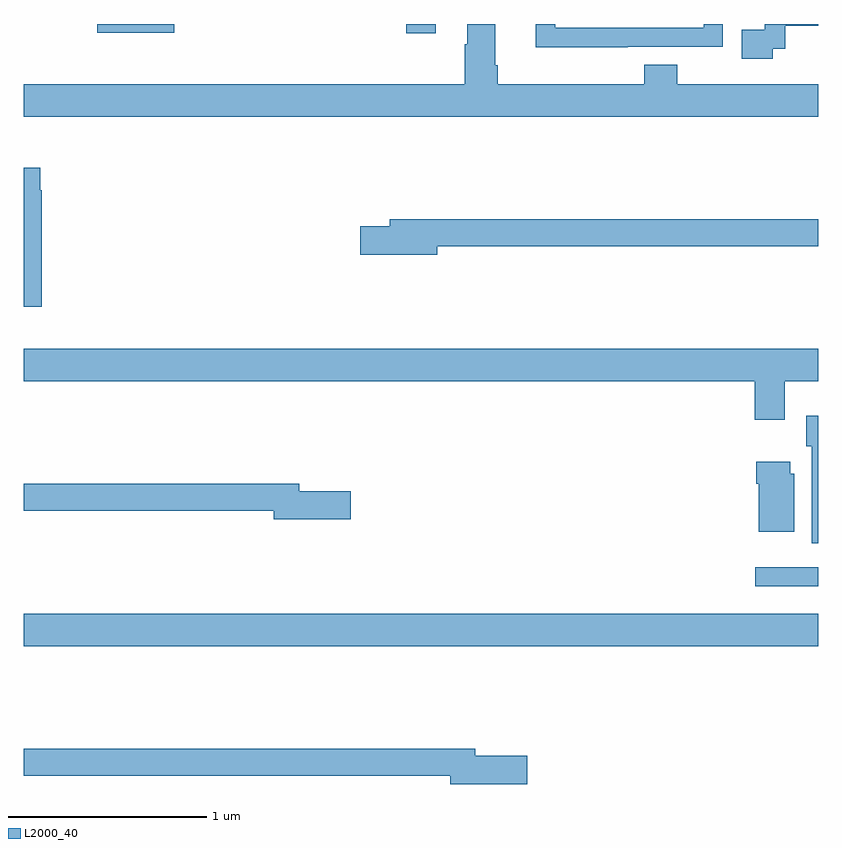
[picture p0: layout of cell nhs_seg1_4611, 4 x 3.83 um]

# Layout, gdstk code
import gdstk
lib = gdstk.Library(unit=1e-6, precision=1e-09)
def R(c, l, rs):  # rectangles x0, y0, x1, y1
    for r in rs: c.add(gdstk.rectangle(r[:2], r[2:], *l))
def P(c, l, *ps):  # polygons
    for p in ps: c.add(gdstk.Polygon(p, *l))
L2000_40 = (2000, 40)

nhs_seg1_4611 = lib.new_cell('nhs_seg1_4611')
R(nhs_seg1_4611, L2000_40, [(361,549.068,365,549.232), (364.683,549.368,365,549.465), (362.925,552.153,363.073,552.199)])
P(nhs_seg1_4611, L2000_40, [(365,551.896),(364.289,551.896),(364.289,551.995),(364.124,551.995),(364.124,551.896),(363.386,551.896),(363.386,551.992),(363.373,551.992),(363.373,552.199),(363.233,552.199),(363.233,552.098),(363.221,552.098),(363.221,551.896),(361,551.896),(361,551.732),(365,551.732)],
  [(364.04,552.084),(364.518,552.084),(364.518,552.199),(364.422,552.199),(364.422,552.18),(363.675,552.18),(363.675,552.199),(363.578,552.199),(363.578,552.083),(364.04,552.083)],
  [(364.77,552.075),(364.832,552.075),(364.832,552.189),(365,552.189),(365,552.199),(364.731,552.199),(364.731,552.171),(364.614,552.171),(364.614,552.024),(364.77,552.024)],
  [(361.759,552.199),(361,552.199),(361,552.198),(361.37,552.198),(361.37,552.155),(361.759,552.155)],
  [(361.091,551.363),(361.084,551.363),(361.084,551.476),(361,551.476),(361,550.775),(361.091,550.775)],
  [(363.082,551.08),(365,551.08),(365,551.216),(362.843,551.216),(362.843,551.18),(362.694,551.18),(362.694,551.038),(363.082,551.038)],
  [(364.831,550.4),(365,550.4),(365,550.564),(361,550.564),(361,550.4),(364.679,550.4),(364.679,550.206),(364.831,550.206)],
  [(365,550.228),(364.94,550.228),(364.94,550.074),(364.967,550.074),(364.967,549.585),(365,549.585)],
  [(364.879,549.936),(364.858,549.936),(364.858,549.997),(364.688,549.997),(364.688,549.884),(364.7,549.884),(364.7,549.644),(364.879,549.644)],
  [(362.647,549.848),(362.386,549.848),(362.386,549.884),(361,549.884),(361,549.748),(362.258,549.748),(362.258,549.706),(362.647,549.706)],
  [(363.535,548.516),(363.274,548.516),(363.274,548.552),(361,548.552),(361,548.416),(363.146,548.416),(363.146,548.374),(363.535,548.374)])

lib.write_gds('nhs_seg1_4611.gds')
